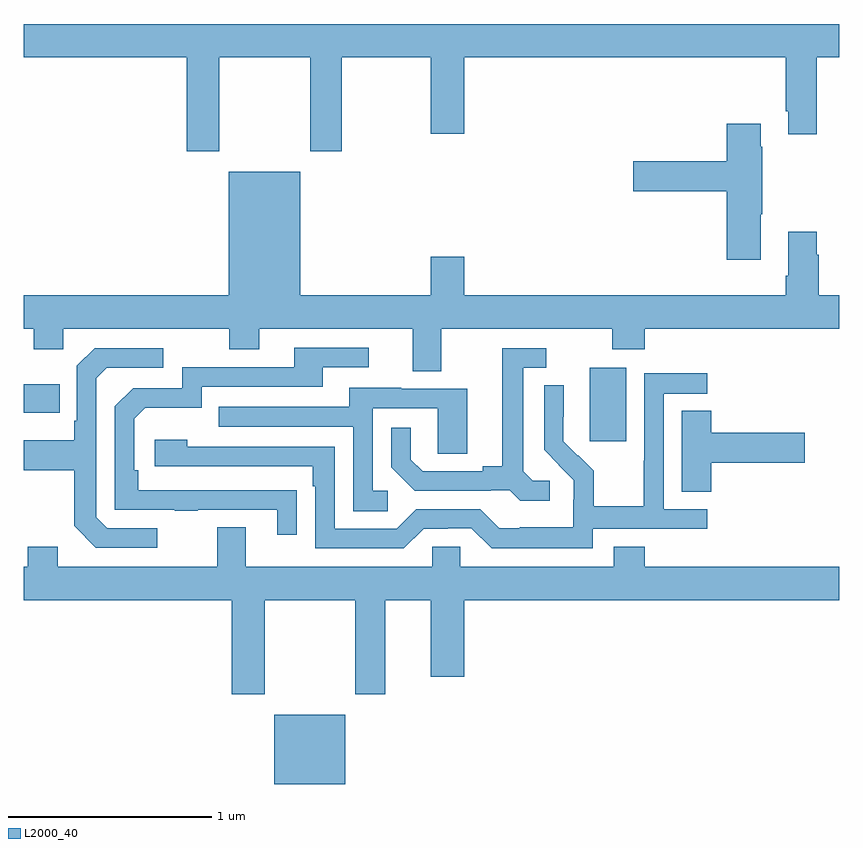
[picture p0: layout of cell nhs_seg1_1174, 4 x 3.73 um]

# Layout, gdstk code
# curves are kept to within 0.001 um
import gdstk
lib = gdstk.Library(unit=1e-6, precision=1e-09)
def R(c, l, rs):  # rectangles x0, y0, x1, y1
    for r in rs: c.add(gdstk.rectangle(r[:2], r[2:], *l))
def P(c, l, *ps):  # polygons
    for p in ps: c.add(gdstk.Polygon(p, *l))
L2000_40 = (2000, 40)

nhs_seg1_1174 = lib.new_cell('nhs_seg1_1174')
R(nhs_seg1_1174, L2000_40, [(176.228,516.199,176.578,516.538), (177.776,517.881,177.955,518.242), (175,518.021,175.175,518.161)])
P(nhs_seg1_1174, L2000_40, [(175.959,519.764),(176.404,519.764),(176.404,519.303),(176.559,519.303),(176.559,519.764),(176.996,519.764),(176.996,519.39),(177.16,519.39),(177.16,519.764),(178.739,519.764),(178.739,519.499),(178.751,519.499),(178.751,519.387),(178.891,519.387),(178.891,519.764),(179,519.764),(179,519.928),(175,519.928),(175,519.764),(175.799,519.764),(175.799,519.303),(175.959,519.303)],
  [(178.615,518.995),(178.623,518.995),(178.623,519.326),(178.615,519.326),(178.615,519.439),(178.448,519.439),(178.448,519.254),(177.99,519.254),(177.99,519.107),(178.448,519.107),(178.448,518.772),(178.615,518.772)],
  [(177.049,518.432),(177.886,518.432),(177.886,518.333),(178.046,518.333),(178.046,518.432),(179,518.432),(179,518.596),(178.899,518.596),(178.899,518.795),(178.891,518.795),(178.891,518.908),(178.751,518.908),(178.751,518.692),(178.739,518.692),(178.739,518.596),(177.16,518.596),(177.16,518.785),(176.996,518.785),(176.996,518.596),(176.356,518.596),(176.356,519.202),(176.006,519.202),(176.006,518.596),(175,518.596),(175,518.432),(175.048,518.432),(175.048,518.333),(175.194,518.333),(175.194,518.432),(176.008,518.432),(176.008,518.333),(176.155,518.333),(176.155,518.432),(176.909,518.432),(176.909,518.224),(177.049,518.224)],
  [(176.339,517.64),(175.562,517.641),(175.562,517.738),(175.542,517.738),(175.542,517.992),(175.595,518.045),(175.872,518.045),(175.872,518.148),(176.467,518.148),(176.467,518.244),(176.692,518.244),(176.692,518.34),(176.327,518.34),(176.327,518.244),(175.776,518.244),(175.776,518.142),(175.536,518.142),(175.446,518.052),(175.446,517.545),(175.741,517.545),(175.741,517.54),(175.853,517.54),(175.853,517.545),(176.243,517.545),(176.243,517.422),(176.339,517.422)],
  [(177.58,517.686),(177.498,517.686),(177.451,517.733),(177.451,518.241),(177.562,518.241),(177.562,518.337),(177.347,518.337),(177.347,517.757),(177.251,517.757),(177.251,517.734),(176.956,517.734),(176.899,517.791),(176.899,517.948),(176.802,517.948),(176.802,517.754),(176.918,517.638),(177.29,517.638),(177.29,517.641),(177.384,517.641),(177.436,517.589),(177.58,517.589)],
  [(175.654,517.455),(175.41,517.455),(175.356,517.509),(175.356,518.19),(175.407,518.241),(175.684,518.241),(175.684,518.337),(175.347,518.337),(175.26,518.25),(175.26,517.981),(175.248,517.981),(175.248,517.885),(175,517.885),(175,517.738),(175.248,517.738),(175.248,517.465),(175.353,517.359),(175.654,517.359)],
  [(177.792,517.452),(178.354,517.452),(178.354,517.548),(178.14,517.548),(178.14,518.115),(178.354,518.115),(178.354,518.214),(178.044,518.214),(178.044,517.784),(178.042,517.784),(178.042,517.561),(177.797,517.561),(177.797,517.735),(177.72,517.812),(177.717,517.809),(177.647,517.88),(177.648,518.156),(177.552,518.156),(177.552,517.838),(177.698,517.69),(177.698,517.593),(177.696,517.593),(177.696,517.459),(177.433,517.459),(177.433,517.455),(177.333,517.455),(177.24,517.548),(176.925,517.548),(176.829,517.452),(176.526,517.452),(176.526,517.854),(175.802,517.854),(175.802,517.888),(175.641,517.888),(175.641,517.758),(176.417,517.758),(176.417,517.661),(176.43,517.661),(176.43,517.356),(176.865,517.356),(176.961,517.452),(177.08,517.452),(177.08,517.455),(177.195,517.455),(177.295,517.355),(177.792,517.355)],
  [(176.785,517.638),(176.712,517.638),(176.712,518.043),(177.03,518.043),(177.03,517.819),(177.175,517.819),(177.175,518.139),(176.851,518.139),(176.851,518.143),(176.597,518.143),(176.597,518.049),(175.957,518.049),(175.957,517.953),(176.616,517.953),(176.616,517.537),(176.785,517.537)],
  [(178.373,517.775),(178.831,517.775),(178.831,517.922),(178.373,517.922),(178.373,518.03),(178.229,518.03),(178.229,517.633),(178.373,517.633)],
  [(176.181,517.1),(176.626,517.1),(176.626,516.639),(176.773,516.639),(176.773,517.1),(176.996,517.1),(176.996,516.726),(177.16,516.726),(177.16,517.1),(179,517.1),(179,517.264),(178.046,517.264),(178.046,517.363),(177.893,517.363),(177.893,517.264),(177.141,517.264),(177.141,517.362),(177.003,517.362),(177.003,517.264),(176.089,517.264),(176.089,517.459),(175.949,517.459),(175.949,517.264),(175.165,517.264),(175.165,517.363),(175.018,517.363),(175.018,517.264),(175,517.264),(175,517.1),(176.021,517.1),(176.021,516.639),(176.181,516.639)])

lib.write_gds('nhs_seg1_1174.gds')
